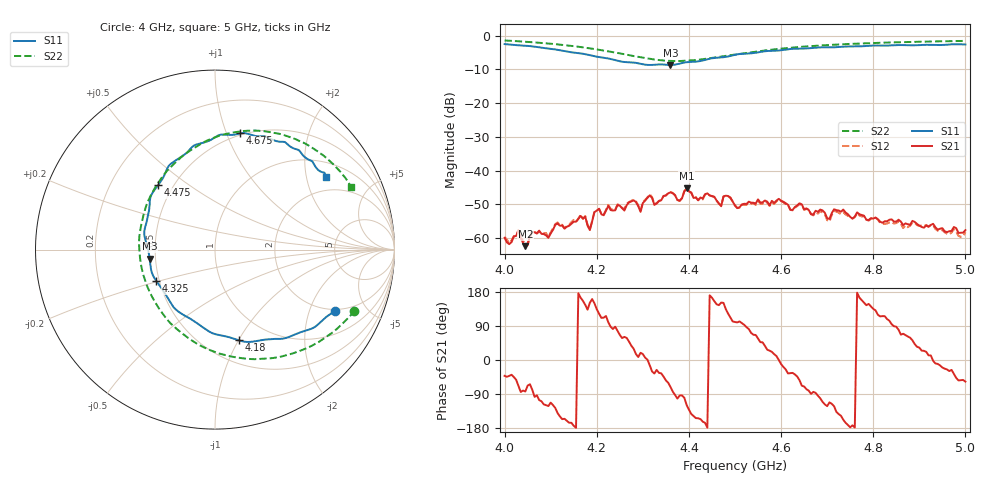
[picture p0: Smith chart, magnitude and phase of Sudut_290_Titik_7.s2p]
# Hz S RI R 50
! CMT, C1220, 16058040, 17.2.0/1
! Date: 15/08/2018 12:05:19
! Data: Format (Calibration Info)
! Freq  S11: Re/Im (F2)  S21: Re/Im (F2)  S12: Re/Im (F2)  S22: Re/Im (F2)
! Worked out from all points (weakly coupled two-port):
!   201 points, 4 GHz to 5 GHz, reference 50 ohm
!   highest |S21| = -45.29 dB at 4.395 GHz (marker M1); lowest = -62.4 dB at 4.045 GHz (marker M2)
!   lowest |S11| = -8.7 dB at 4.36 GHz (marker M3), VSWR 2.16, Z = 23.2 - j2.74 ohm
!   |S11| at or under -10 dB: nowhere
!   |S22| runs from -7.5 to -1.4 dB; largest |S21 - S12| = 0.00024
!   S11 on the Smith chart (normalised r, x): 4 GHz: 1.91, -3.00; 4.18 GHz: 0.72, -1.00; 4.325 GHz: 0.48, -0.20; 4.475 GHz: 0.41, +0.38; 4.675 GHz: 0.48, +1.12; 5 GHz: 1.47, +2.62
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4e9  0.6663 -0.3433  0.000754 -0.000675  0.000751 -0.000714  0.7771 -0.3395
4.03e9  0.604 -0.3896  0.000495 -0.00121  0.000552 -0.00119  0.7188 -0.4039
4.045e9  0.5696 -0.4208  9.25e-05 -0.000756  0.000151 -0.000775  0.6859 -0.4357
4.06e9  0.5347 -0.4419  0.00025 -0.00122  0.000283 -0.00127  0.6501 -0.4652
4.095e9  0.4275 -0.4805  -0.000527 -0.000863  -0.000501 -0.000906  0.5545 -0.5278
4.115e9  0.3641 -0.4973  -0.00126 -0.00105  -0.00127 -0.00115  0.4881 -0.5586
4.17e9  0.165 -0.5133  -0.00178 0.00079  -0.00177 0.000803  0.2833 -0.6071
4.18e9  0.1331 -0.5054  -0.00104 0.00113  -0.00111 0.00113  0.2418 -0.6094
4.225e9  -0.031 -0.4576  -0.000508 0.00298  -0.00057 0.00306  0.0433 -0.5846
4.325e9  -0.3266 -0.1751  0.00253 -0.00181  0.0026 -0.00191  -0.338 -0.2855
4.335e9  -0.3459 -0.1429  0.00294 -0.00198  0.00291 -0.00208  -0.362 -0.2395
4.36e9  -0.364 -0.0511  0.00154 -0.00451  0.00148 -0.00458  -0.4052 -0.1176
4.38e9  -0.3833 0.0385  -0.000221 -0.00358  -0.00029 -0.00355  -0.42 -0.0203
4.395e9  -0.394 0.0884  -0.00262 -0.00477  -0.00266 -0.00469  -0.4226 0.0551
4.47e9  -0.3298 0.3419  -0.00261 0.00142  -0.00265 0.00155  -0.316 0.373
4.475e9  -0.3177 0.3584  -0.00362 0.00203  -0.00355 0.00212  -0.3046 0.3894
4.5e9  -0.2692 0.4443  -0.000542 0.00299  -0.000498 0.003  -0.2412 0.4658
4.595e9  -0.0501 0.6  0.00382 8.04e-06  0.00373 -1.27e-05  0.029 0.6362
4.67e9  0.1316 0.6451  0.000229 -0.00224  0.000108 -0.00217  0.2371 0.6627
4.675e9  0.142 0.6478  0.000144 -0.00254  8.23e-05 -0.00241  0.2498 0.6621
4.835e9  0.4367 0.5645  -0.000443 0.00182  -0.000402 0.00166  0.5716 0.5475
5e9  0.6197 0.4037  0.000717 -0.0011  0.000705 -0.001  0.7582 0.3515
